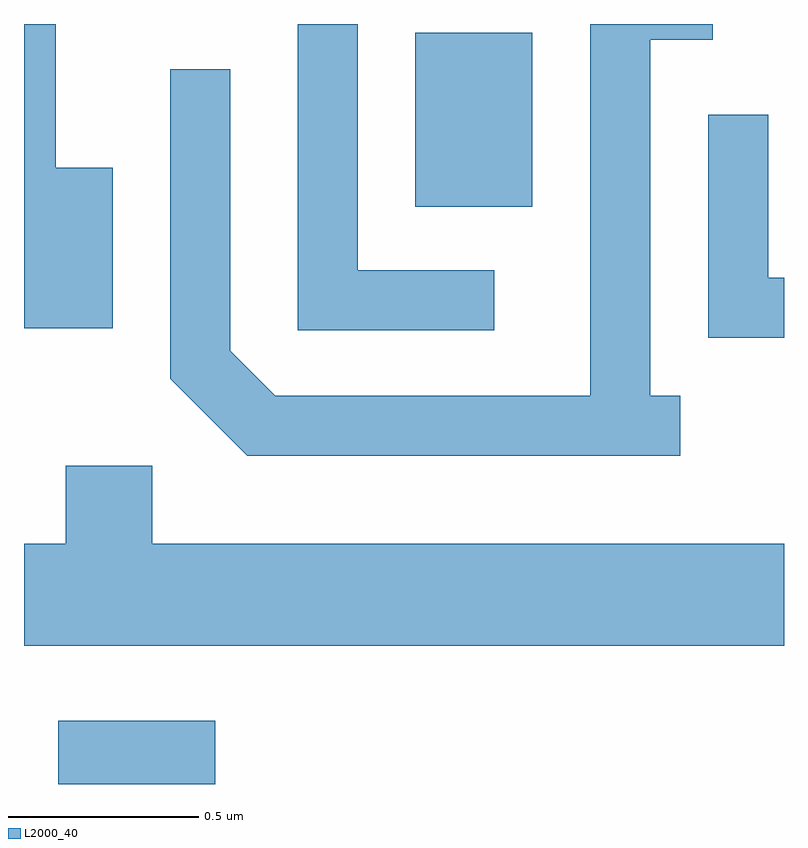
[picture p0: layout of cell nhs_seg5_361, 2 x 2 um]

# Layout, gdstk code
import gdstk
lib = gdstk.Library(unit=1e-6, precision=1e-09)
def R(c, l, rs):  # rectangles x0, y0, x1, y1
    for r in rs: c.add(gdstk.rectangle(r[:2], r[2:], *l))
def P(c, l, *ps):  # polygons
    for p in ps: c.add(gdstk.Polygon(p, *l))
L2000_40 = (2000, 40)

nhs_seg5_361 = lib.new_cell('nhs_seg5_361')
R(nhs_seg5_361, L2000_40, [(187.701,1483.072,188.114,1483.239), (188.641,1484.591,188.949,1485.049)])
P(nhs_seg5_361, L2000_40, [(187.844,1484.694),(187.694,1484.694),(187.694,1485.072),(187.611,1485.072),(187.611,1484.271),(187.844,1484.271)],
  [(188.848,1484.424),(188.489,1484.424),(188.489,1485.072),(188.331,1485.072),(188.331,1484.266),(188.848,1484.266)],
  [(189.338,1484.094),(189.259,1484.094),(189.259,1485.031),(189.423,1485.031),(189.423,1485.072),(189.101,1485.072),(189.101,1484.094),(188.272,1484.094),(188.154,1484.212),(188.154,1484.953),(187.996,1484.953),(187.996,1484.139),(188.199,1483.936),(189.338,1483.936)],
  [(189.611,1484.404),(189.569,1484.404),(189.569,1484.833),(189.411,1484.833),(189.411,1484.246),(189.611,1484.246)],
  [(189.611,1483.704),(187.949,1483.704),(187.949,1483.909),(187.721,1483.909),(187.721,1483.704),(187.611,1483.704),(187.611,1483.436),(189.611,1483.436)])

lib.write_gds('nhs_seg5_361.gds')
